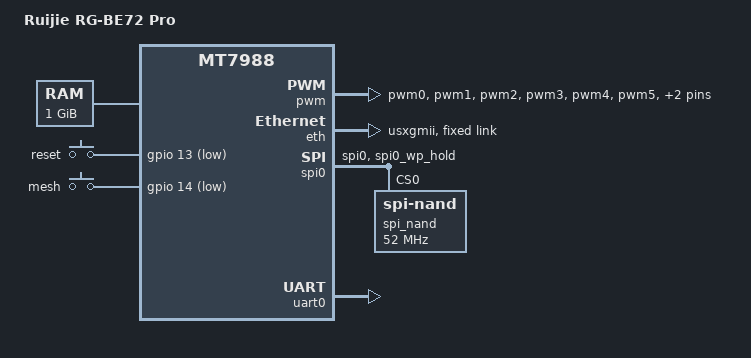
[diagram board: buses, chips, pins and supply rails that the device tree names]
// SPDX-License-Identifier: GPL-2.0

/dts-v1/;
#include "mt7988.dtsi"
#include <dt-bindings/gpio/gpio.h>
#include <dt-bindings/input/linux-event-codes.h>

/ {
	model = "Ruijie RG-BE72 Pro";
	compatible = "mediatek,mt7988-rfb";

	chosen {
		stdout-path = &uart0;
	};

	memory@40000000 {
		device_type = "memory";
		reg = <0 0x40000000 0 0x40000000>;
	};

	mtd-layout {
		layout@0 {
			label = "default";
			cmdline = "console=ttyS0,115200n1 loglevel=8 earlycon=uart8250,mmio32,0x11000000 pci=pcie_bus_perf";
			mtdids = "nmbm0=nmbm0";
			mtdparts = "nmbm0:1024k(bl2),512k(u-boot-env),2048k(Factory),2048k(fip),512k(product_info),512k(kdump),115200k(ubi)";
		};
	};

	gpio-keys {
		compatible = "gpio-keys";

		reset-button {
			label = "reset";
			linux,code = <KEY_RESTART>;
			gpios = <&gpio 13 GPIO_ACTIVE_LOW>;
		};

		mesh-button {
			label = "mesh";
			linux,code = <BTN_9>;
			gpios = <&gpio 14 GPIO_ACTIVE_LOW>;
		};
	};

	bl2_verify {
		bl2_compatible = "spim-nand";
	};
};

&pwm {
	pinctrl-names = "default";
	pinctrl-0 = <&pwm_pins>;
	status = "okay";
};

&eth {
	status = "okay";
	mediatek,gmac-id = <0>;
	phy-mode = "usxgmii";
	mediatek,switch = "mt7988";

	fixed-link {
		speed = <1000>;
		full-duplex;
		pause;
	};
};

&pinctrl {
	pwm_pins: pwm-pins {
		mux {
			function = "pwm";
			groups = "pwm0", "pwm1", "pwm2", "pwm3", "pwm4",
				 "pwm5", "pwm6", "pwm7";
		};
	};

	spi0_pins: spi0-pins {
		mux {
			function = "spi";
			groups = "spi0", "spi0_wp_hold";
		};
	};
};

&spi0 {
	pinctrl-names = "default";
	pinctrl-0 = <&spi0_pins>;
	#address-cells = <1>;
	#size-cells = <0>;
	status = "okay";
	must_tx;
	enhance_timing;
	dma_ext;
	ipm_design;
	support_quad;
	tick_dly = <2>;
	sample_sel = <0>;

	spi_nand@0 {
		compatible = "spi-nand";
		reg = <0>;
		spi-max-frequency = <52000000>;
	};
};

&uart0 {
	status = "okay";
};

&watchdog {
	status = "disabled";
};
